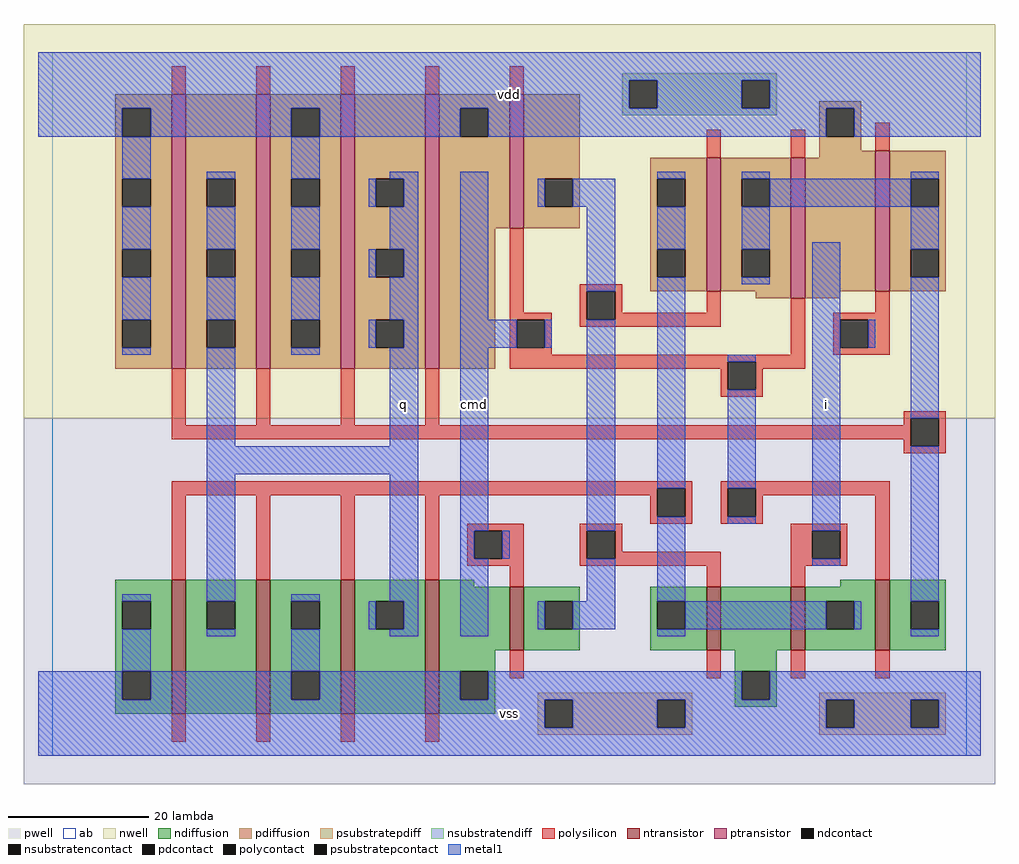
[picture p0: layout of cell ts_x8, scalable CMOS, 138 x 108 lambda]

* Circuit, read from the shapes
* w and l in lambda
.subckt ts_x8 cmd i q vdd vss
M1 q n1 vss vss nfet w=19 l=2 m=4
M2 n2 cmd vss vss nfet w=9 l=2
M3 vss n2 n1 vss nfet w=9 l=2
M4 n1 i vss vss nfet w=9 l=2
M5 n3 cmd n1 vss nfet w=10 l=2
M6 q n3 vdd vdd pfet w=39 l=2 m=4
M7 n2 cmd vdd vdd pfet w=19 l=2
M8 n3 n2 n1 vdd pfet w=19 l=2
M9 vdd cmd n3 vdd pfet w=20 l=2
M10 n3 i vdd vdd pfet w=20 l=2
.ends

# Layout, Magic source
magic
tech scmos
<< ab >>
rect 0 0 130 100
<< pwell >>
rect -4 -4 134 48
<< nwell >>
rect -4 48 134 104
<< polysilicon >>
rect 17 94 19 98
rect 29 94 31 98
rect 41 94 43 98
rect 53 94 55 98
rect 65 94 67 98
rect 93 85 95 89
rect 105 85 107 89
rect 117 86 119 90
rect 65 63 67 75
rect 75 66 81 67
rect 65 62 71 63
rect 65 58 66 62
rect 70 58 71 62
rect 75 62 76 66
rect 80 63 81 66
rect 93 63 95 66
rect 80 62 95 63
rect 75 61 95 62
rect 65 57 71 58
rect 105 57 107 65
rect 117 63 119 66
rect 111 62 119 63
rect 111 58 112 62
rect 116 58 119 62
rect 111 57 119 58
rect 65 56 107 57
rect 65 55 96 56
rect 17 47 19 55
rect 29 47 31 55
rect 41 47 43 55
rect 53 47 55 55
rect 95 52 96 55
rect 100 55 107 56
rect 100 52 101 55
rect 95 51 101 52
rect 121 48 127 49
rect 121 47 122 48
rect 17 45 122 47
rect 121 44 122 45
rect 126 44 127 48
rect 121 43 127 44
rect 17 38 91 39
rect 17 37 86 38
rect 17 25 19 37
rect 29 25 31 37
rect 41 25 43 37
rect 53 25 55 37
rect 85 34 86 37
rect 90 34 91 38
rect 85 33 91 34
rect 95 38 119 39
rect 95 34 96 38
rect 100 37 119 38
rect 100 34 101 37
rect 95 33 101 34
rect 59 32 67 33
rect 59 28 60 32
rect 64 28 67 32
rect 59 27 67 28
rect 75 32 81 33
rect 75 28 76 32
rect 80 29 81 32
rect 105 32 113 33
rect 80 28 95 29
rect 75 27 95 28
rect 65 24 67 27
rect 93 24 95 27
rect 105 28 108 32
rect 112 28 113 32
rect 105 27 113 28
rect 105 24 107 27
rect 117 25 119 37
rect 65 11 67 15
rect 93 11 95 15
rect 17 2 19 6
rect 29 2 31 6
rect 41 2 43 6
rect 53 2 55 6
rect 105 11 107 15
rect 117 11 119 15
<< ndiffusion >>
rect 9 22 17 25
rect 9 18 10 22
rect 14 18 17 22
rect 9 12 17 18
rect 9 8 10 12
rect 14 8 17 12
rect 9 6 17 8
rect 19 22 29 25
rect 19 18 22 22
rect 26 18 29 22
rect 19 6 29 18
rect 31 22 41 25
rect 31 18 34 22
rect 38 18 41 22
rect 31 12 41 18
rect 31 8 34 12
rect 38 8 41 12
rect 31 6 41 8
rect 43 22 53 25
rect 43 18 46 22
rect 50 18 53 22
rect 43 6 53 18
rect 55 24 60 25
rect 112 24 117 25
rect 55 15 65 24
rect 67 22 75 24
rect 67 18 70 22
rect 74 18 75 22
rect 67 15 75 18
rect 85 22 93 24
rect 85 18 86 22
rect 90 18 93 22
rect 85 15 93 18
rect 95 15 105 24
rect 107 22 117 24
rect 107 18 110 22
rect 114 18 117 22
rect 107 15 117 18
rect 119 22 127 25
rect 119 18 122 22
rect 126 18 127 22
rect 119 15 127 18
rect 55 12 63 15
rect 55 8 58 12
rect 62 8 63 12
rect 97 12 103 15
rect 55 6 63 8
rect 97 8 98 12
rect 102 8 103 12
rect 97 7 103 8
<< pdiffusion >>
rect 9 92 17 94
rect 9 88 10 92
rect 14 88 17 92
rect 9 82 17 88
rect 9 78 10 82
rect 14 78 17 82
rect 9 72 17 78
rect 9 68 10 72
rect 14 68 17 72
rect 9 62 17 68
rect 9 58 10 62
rect 14 58 17 62
rect 9 55 17 58
rect 19 82 29 94
rect 19 78 22 82
rect 26 78 29 82
rect 19 72 29 78
rect 19 68 22 72
rect 26 68 29 72
rect 19 62 29 68
rect 19 58 22 62
rect 26 58 29 62
rect 19 55 29 58
rect 31 92 41 94
rect 31 88 34 92
rect 38 88 41 92
rect 31 82 41 88
rect 31 78 34 82
rect 38 78 41 82
rect 31 72 41 78
rect 31 68 34 72
rect 38 68 41 72
rect 31 62 41 68
rect 31 58 34 62
rect 38 58 41 62
rect 31 55 41 58
rect 43 82 53 94
rect 43 78 46 82
rect 50 78 53 82
rect 43 72 53 78
rect 43 68 46 72
rect 50 68 53 72
rect 43 62 53 68
rect 43 58 46 62
rect 50 58 53 62
rect 43 55 53 58
rect 55 92 65 94
rect 55 88 58 92
rect 62 88 65 92
rect 55 75 65 88
rect 67 82 75 94
rect 109 92 115 93
rect 109 88 110 92
rect 114 88 115 92
rect 109 86 115 88
rect 109 85 117 86
rect 67 78 70 82
rect 74 78 75 82
rect 67 75 75 78
rect 85 82 93 85
rect 85 78 86 82
rect 90 78 93 82
rect 55 55 63 75
rect 85 72 93 78
rect 85 68 86 72
rect 90 68 93 72
rect 85 66 93 68
rect 95 82 105 85
rect 95 78 98 82
rect 102 78 105 82
rect 95 72 105 78
rect 95 68 98 72
rect 102 68 105 72
rect 95 66 105 68
rect 100 65 105 66
rect 107 66 117 85
rect 119 82 127 86
rect 119 78 122 82
rect 126 78 127 82
rect 119 72 127 78
rect 119 68 122 72
rect 126 68 127 72
rect 119 66 127 68
rect 107 65 112 66
<< metal1 >>
rect -2 96 132 100
rect -2 92 82 96
rect 86 92 98 96
rect 102 92 132 96
rect -2 88 10 92
rect 14 88 34 92
rect 38 88 58 92
rect 62 88 110 92
rect 114 88 132 92
rect 10 82 14 88
rect 10 72 14 78
rect 10 62 14 68
rect 10 57 14 58
rect 22 82 26 83
rect 22 72 26 78
rect 22 62 26 68
rect 22 44 26 58
rect 34 82 38 88
rect 48 82 52 83
rect 45 78 46 82
rect 50 78 52 82
rect 34 72 38 78
rect 48 72 52 78
rect 45 68 46 72
rect 50 68 52 72
rect 34 62 38 68
rect 48 62 52 68
rect 45 58 46 62
rect 50 58 52 62
rect 34 57 38 58
rect 48 44 52 58
rect 22 40 52 44
rect 10 22 14 23
rect 10 12 14 18
rect 22 22 26 40
rect 22 17 26 18
rect 34 22 38 23
rect 48 22 52 40
rect 45 18 46 22
rect 50 18 52 22
rect 34 12 38 18
rect 48 17 52 18
rect 58 62 62 83
rect 86 82 90 83
rect 69 78 70 82
rect 74 78 80 82
rect 76 66 80 78
rect 58 58 66 62
rect 70 58 71 62
rect 58 32 62 58
rect 76 32 80 62
rect 58 28 60 32
rect 64 28 65 32
rect 58 17 62 28
rect 76 22 80 28
rect 69 18 70 22
rect 74 18 80 22
rect 86 72 90 78
rect 86 38 90 68
rect 98 82 102 83
rect 122 82 126 83
rect 102 78 122 82
rect 98 72 102 78
rect 98 67 102 68
rect 86 22 90 34
rect 96 56 100 57
rect 96 38 100 52
rect 96 33 100 34
rect 108 32 112 73
rect 122 72 126 78
rect 116 58 117 62
rect 108 27 112 28
rect 122 48 126 68
rect 122 22 126 44
rect 90 18 110 22
rect 114 18 115 22
rect 86 17 90 18
rect 122 17 126 18
rect -2 8 10 12
rect 14 8 34 12
rect 38 8 58 12
rect 62 8 98 12
rect 102 8 132 12
rect -2 4 70 8
rect 74 4 86 8
rect 90 4 110 8
rect 114 4 122 8
rect 126 4 132 8
rect -2 0 132 4
<< ntransistor >>
rect 17 6 19 25
rect 29 6 31 25
rect 41 6 43 25
rect 53 6 55 25
rect 65 15 67 24
rect 93 15 95 24
rect 105 15 107 24
rect 117 15 119 25
<< ptransistor >>
rect 17 55 19 94
rect 29 55 31 94
rect 41 55 43 94
rect 53 55 55 94
rect 65 75 67 94
rect 93 66 95 85
rect 105 65 107 85
rect 117 66 119 86
<< polycontact >>
rect 66 58 70 62
rect 76 62 80 66
rect 112 58 116 62
rect 96 52 100 56
rect 122 44 126 48
rect 86 34 90 38
rect 96 34 100 38
rect 60 28 64 32
rect 76 28 80 32
rect 108 28 112 32
<< ndcontact >>
rect 10 18 14 22
rect 10 8 14 12
rect 22 18 26 22
rect 34 18 38 22
rect 34 8 38 12
rect 46 18 50 22
rect 70 18 74 22
rect 86 18 90 22
rect 110 18 114 22
rect 122 18 126 22
rect 58 8 62 12
rect 98 8 102 12
<< pdcontact >>
rect 10 88 14 92
rect 10 78 14 82
rect 10 68 14 72
rect 10 58 14 62
rect 22 78 26 82
rect 22 68 26 72
rect 22 58 26 62
rect 34 88 38 92
rect 34 78 38 82
rect 34 68 38 72
rect 34 58 38 62
rect 46 78 50 82
rect 46 68 50 72
rect 46 58 50 62
rect 58 88 62 92
rect 110 88 114 92
rect 70 78 74 82
rect 86 78 90 82
rect 86 68 90 72
rect 98 78 102 82
rect 98 68 102 72
rect 122 78 126 82
rect 122 68 126 72
<< psubstratepcontact >>
rect 70 4 74 8
rect 86 4 90 8
rect 110 4 114 8
rect 122 4 126 8
<< nsubstratencontact >>
rect 82 92 86 96
rect 98 92 102 96
<< psubstratepdiff >>
rect 69 8 91 9
rect 69 4 70 8
rect 74 4 86 8
rect 90 4 91 8
rect 109 8 127 9
rect 69 3 91 4
rect 109 4 110 8
rect 114 4 122 8
rect 126 4 127 8
rect 109 3 127 4
<< nsubstratendiff >>
rect 81 96 103 97
rect 81 92 82 96
rect 86 92 98 96
rect 102 92 103 96
rect 81 91 103 92
<< labels >>
rlabel metal1 65 6 65 6 6 vss
rlabel metal1 50 50 50 50 6 q
rlabel metal1 60 50 60 50 6 cmd
rlabel metal1 65 94 65 94 6 vdd
rlabel metal1 110 50 110 50 6 i
<< end >>
